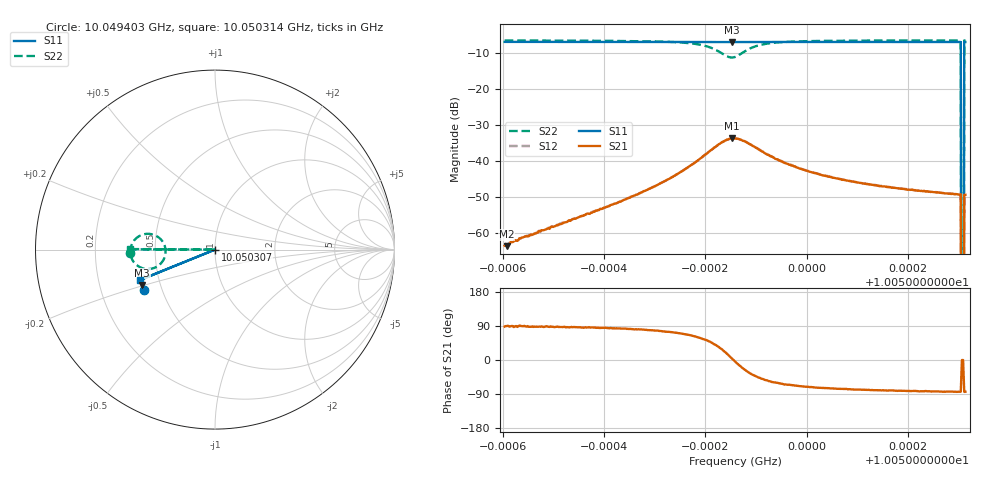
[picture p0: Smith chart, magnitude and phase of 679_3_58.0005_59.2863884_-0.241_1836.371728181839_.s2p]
#  HZ  S  RI  R  50.00
! Rohde & Schwarz Vector Network Analyzer
! Rohde-Schwarz,ZNB20-2Port,1311601062101988,3.16
! Created: UTC 3/21/2024, 1:20:48 AM
! freq[Hz]  re:S11  im:S11  re:S21  im:S21  re:S12  im:S12  re:S22  im:S22
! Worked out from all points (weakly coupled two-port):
!   401 points, 10.049403 GHz to 10.050314 GHz, reference 50 ohm
!   highest |S21| = -33.62 dB at 10.049852 GHz (marker M1); lowest = -63.6 dB at 10.049407 GHz (marker M2)
!   lowest |S11| = -6.9 dB at 10.049852 GHz (marker M3), VSWR 2.64, Z = 19.8 - j9.76 ohm
!   |S11| at or under -10 dB: 10.050305 GHz to 10.050312 GHz (6.763 kHz wide, 6.73e-05 % of centre)
!   |S22| runs from - to -6.5 dB; largest |S21 - S12| = 0.0016
!   S11 on the Smith chart (normalised r, x): 10.049403 GHz: 0.40, -0.22; 10.050307 GHz: 1.00, +0.00; 10.050314 GHz: 0.39, -0.17
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1.00494028e10  -0.3951 -0.2239  2.06e-05 0.000675  -1.19e-05 0.000691  -0.474 -0.0163
1.00494074e10  -0.3953 -0.2236  5.26e-06 0.000664  -1.18e-05 0.00069  -0.4739 -0.016
1.0049437e10  -0.3962 -0.2219  6.37e-06 0.000878  -3.31e-05 0.000835  -0.4739 -0.0124
1.00495555e10  -0.3997 -0.2149  0.000139 0.00174  -5.48e-07 0.00174  -0.4715 0.00347
1.00496284e10  -0.4018 -0.2104  0.000309 0.00269  0.000175 0.00271  -0.4682 0.0174
1.00497081e10  -0.404 -0.2054  0.0011 0.0047  0.000799 0.00474  -0.4576 0.0406
1.00497492e10  -0.4051 -0.2028  0.00231 0.00659  0.00194 0.00668  -0.4429 0.0593
1.00497925e10  -0.406 -0.1997  0.00615 0.00944  0.00555 0.00974  -0.4022 0.0838
1.00498266e10  -0.4061 -0.1975  0.0143 0.00966  0.0134 0.0103  -0.3249 0.0751
1.00498517e10  -0.406 -0.1966  0.0208 0.00182  0.0204 0.00338  -0.2754 -0.005
1.00498585e10  -0.4061 -0.1967  0.0207 -0.00149  0.0207 0.000117  -0.2782 -0.0343
1.00498813e10  -0.407 -0.1962  0.0161 -0.00882  0.0167 -0.00773  -0.3324 -0.0995
1.00499132e10  -0.4087 -0.1947  0.00873 -0.0104  0.00942 -0.00995  -0.4056 -0.1032
1.00499611e10  -0.4105 -0.1916  0.00391 -0.00839  0.00448 -0.00813  -0.4488 -0.0737
1.00500112e10  -0.4119 -0.1886  0.0022 -0.00667  0.00264 -0.00657  -0.4635 -0.0513
1.00500841e10  -0.414 -0.184  0.0012 -0.00519  0.00149 -0.00517  -0.4709 -0.0308
1.00501639e10  -0.416 -0.1791  0.000759 -0.0043  0.00099 -0.00429  -0.4738 -0.0162
1.00503006e10  -0.4191 -0.1706  0.000368 -0.00345  0.000587 -0.00348  -0.4752 0.00148
1.00503052e10  -0.4194 -0.1703  0.000385 -0.00346  0.00056 -0.00343  -0.4753 0.00188
1.00503074e10  0 0  0 0  0 0  0 0
1.0050312e10  -0.4196 -0.17  0.000343 -0.0034  0.000541 -0.00341  -0.4752 0.00278
1.00503143e10  -0.4195 -0.1699  0.000371 -0.00341  0.000549 -0.0034  -0.4753 0.00296
